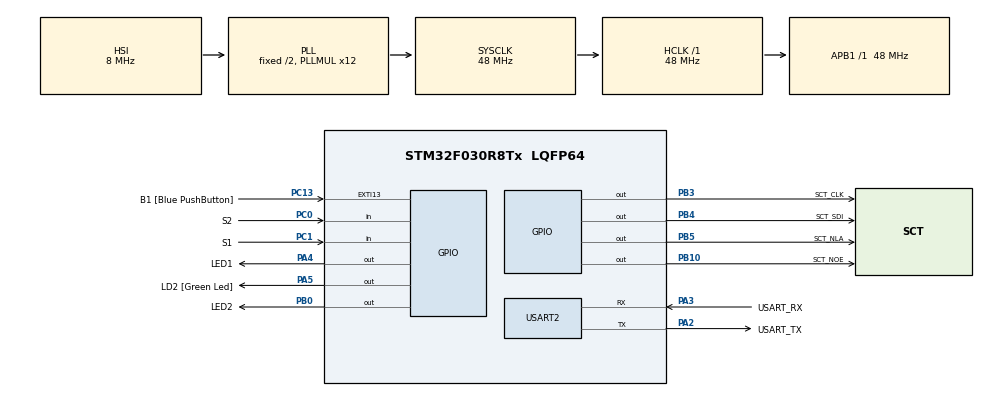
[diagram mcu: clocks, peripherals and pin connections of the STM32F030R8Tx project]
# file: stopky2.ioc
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Mcu.Family=STM32F0
Mcu.Name=STM32F030R8Tx
Mcu.Package=LQFP64
PA13.GPIO_Label=TMS
PA13.Mode=Serial_Wire
PA13.Signal=SYS_SWDIO
PA14.GPIO_Label=TCK
PA14.Mode=Serial_Wire
PA14.Signal=SYS_SWCLK
PA2.GPIO_Label=USART_TX
PA2.GPIO_Mode=GPIO_MODE_AF_PP
PA2.GPIO_PuPd=GPIO_NOPULL
PA2.GPIO_Speed=GPIO_SPEED_FREQ_LOW
PA2.Mode=Asynchronous
PA2.Signal=USART2_TX
PA3.GPIO_Label=USART_RX
PA3.GPIO_Mode=GPIO_MODE_AF_PP
PA3.GPIO_PuPd=GPIO_NOPULL
PA3.GPIO_Speed=GPIO_SPEED_FREQ_LOW
PA3.Mode=Asynchronous
PA3.Signal=USART2_RX
PA4.GPIO_Label=LED1
PA4.Signal=GPIO_Output
PA5.GPIO_Label=LD2 [Green Led]
PA5.GPIO_Mode=GPIO_MODE_OUTPUT_PP
PA5.GPIO_PuPd=GPIO_NOPULL
PA5.GPIO_Speed=GPIO_SPEED_FREQ_LOW
PA5.Signal=GPIO_Output
PB0.GPIO_Label=LED2
PB0.Signal=GPIO_Output
PB10.GPIO_Label=SCT_NOE
PB10.Signal=GPIO_Output
PB3.GPIO_Label=SCT_CLK
PB3.Signal=GPIO_Output
PB4.GPIO_Label=SCT_SDI
PB4.Signal=GPIO_Output
PB5.GPIO_Label=SCT_NLA
PB5.Signal=GPIO_Output
PC0.GPIO_Label=S2
PC0.GPIO_PuPd=GPIO_PULLUP
PC0.Signal=GPIO_Input
PC1.GPIO_Label=S1
PC1.GPIO_PuPd=GPIO_PULLUP
PC1.Signal=GPIO_Input
PC13.GPIO_Label=B1 [Blue PushButton]
PC13.GPIO_ModeDefaultEXTI=GPIO_MODE_IT_FALLING
PC13.Signal=GPXTI13
PC14-OSC32_IN.Mode=LSE-External-Oscillator
PC14-OSC32_IN.Signal=RCC_OSC32_IN
PC15-OSC32_OUT.Mode=LSE-External-Oscillator
PC15-OSC32_OUT.Signal=RCC_OSC32_OUT
PF0-OSC_IN.Mode=HSE-External-Clock-Source
PF0-OSC_IN.Signal=RCC_OSC_IN
PF1-OSC_OUT.Signal=RCC_OSC_OUT
ProjectManager.HeapSize=0x200
ProjectManager.StackSize=0x400
ProjectManager.TargetToolchain=STM32CubeIDE
RCC.AHBFreq_Value=48000000
RCC.APB1Freq_Value=48000000
RCC.APB1TimFreq_Value=48000000
RCC.HCLKFreq_Value=48000000
RCC.PLLMUL=RCC_PLL_MUL12
RCC.SYSCLKFreq_VALUE=48000000
RCC.SYSCLKSource=RCC_SYSCLKSOURCE_PLLCLK
USART2.VirtualMode-Asynchronous=VM_ASYNC
board=NUCLEO-F030R8

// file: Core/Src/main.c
/* USER CODE BEGIN Header */
/**
  ******************************************************************************
  * @file           : main.c
  * @brief          : Main program body
  ******************************************************************************
  * @attention
  *
  * <h2><center>&copy; Copyright (c) 2022 STMicroelectronics.
  * All rights reserved.</center></h2>
  *
  * This software component is licensed by ST under BSD 3-Clause license,
  * the "License"; You may not use this file except in compliance with the
  * License. You may obtain a copy of the License at:
  *                        opensource.org/licenses/BSD-3-Clause
  *
  ******************************************************************************
  */
/* USER CODE END Header */
#include "main.h"

/* USER CODE BEGIN Includes */
#include "sct.h"

/* USER CODE END Includes */

/* USER CODE BEGIN PTD */

#define BUTTON_DEBOUNCE 300

/* USER CODE END PTD */

UART_HandleTypeDef huart2;

/* USER CODE BEGIN PV */

uint8_t Tlacitka(void)
{
static uint32_t debounce = 0;
static uint8_t btnout = 0;

// uint32_t now = HAL_GetTick() ;

// #define BUTTON_LONG 1000

	if (HAL_GetTick() > debounce + BUTTON_DEBOUNCE) {

			if (HAL_GPIO_ReadPin(S1_GPIO_Port, S1_Pin) == 0) {
				btnout |= 0x1;
			} else
				btnout &= ~0x1;

			if (HAL_GPIO_ReadPin(S2_GPIO_Port, S2_Pin) == 0) {
				btnout |= 0x2;
			} else
				btnout &= ~0x2;

		debounce = HAL_GetTick();
	}
return btnout;
}

void Led(uint16_t LedOut,uint16_t ON_OFF )
{
		if (LedOut == 1 && ON_OFF == 1) {
		HAL_GPIO_WritePin(LED1_GPIO_Port, LED1_Pin, GPIO_PIN_SET);
	} else if (LedOut == 1 && ON_OFF == 0)
		HAL_GPIO_WritePin(LED1_GPIO_Port, LED1_Pin, GPIO_PIN_RESET);

	if (LedOut == 2 && ON_OFF == 1) {
		HAL_GPIO_WritePin(LED2_GPIO_Port, LED2_Pin, GPIO_PIN_SET);
	} else if(LedOut == 2 && ON_OFF == 0)
		HAL_GPIO_WritePin(LED2_GPIO_Port, LED2_Pin, GPIO_PIN_RESET);

	LedOut = 0;
}

/* USER CODE END PV */

void SystemClock_Config(void);
static void MX_GPIO_Init(void);
static void MX_USART2_UART_Init(void);

int main(void)
{

  /* MCU Configuration--------------------------------------------------------*/

  /* Reset of all peripherals, Initializes the Flash interface and the Systick. */
  HAL_Init();

  /* Configure the system clock */
  SystemClock_Config();

  /* Initialize all configured peripherals */
  MX_GPIO_Init();
  MX_USART2_UART_Init();
  /* USER CODE BEGIN 2 */

 uint32_t tim = HAL_GetTick();
 uint16_t tms = 0;
 uint32_t stisk1 = 0;
 uint32_t debounce = 0;
 uint32_t mezicas = 0;

  /* USER CODE END 2 */

  /* Infinite loop */
  /* USER CODE BEGIN WHILE */
  while (1)
  {
		if (HAL_GetTick() > debounce + BUTTON_DEBOUNCE) {
			if (Tlacitka() == 0x2 && stisk1 == 0) {
				stisk1 = 0;
			}
			if (Tlacitka() == 0x2 && stisk1 == 0) {
				stisk1 = 1;
			} else if (Tlacitka() == 0x2 && stisk1 == 1) {
				stisk1 = 2;
			} else if (Tlacitka() == 0x2 && stisk1 == 2) {
				stisk1 = 3;
			} else if (Tlacitka() == 0x2 && stisk1 == 3) {
				stisk1 = 0;
			}
			debounce = HAL_GetTick();
		}

		if (stisk1 == 1) {
			if (HAL_GetTick() > tim) {
				tms++;
				sct_value(tms, stisk1);
				tim += 100;
			}
		} else if (stisk1 == 2) {
			if (HAL_GetTick() > tim) {
				mezicas = tms;
				sct_value(tms, stisk1);
				tim = HAL_GetTick() + 100;
			}
		} else if (stisk1 == 3) {
			if (HAL_GetTick() > tim) {
				tms = 0;
				sct_value(tms, stisk1);
			}
		}

		if(Tlacitka() == 0x1)
		{
			sct_value(mezicas,stisk1 );
		}

    /* USER CODE END WHILE */

  }
}

void SystemClock_Config(void)
{
  RCC_OscInitTypeDef RCC_OscInitStruct = {0};
  RCC_ClkInitTypeDef RCC_ClkInitStruct = {0};

  /** Initializes the RCC Oscillators according to the specified parameters
  * in the RCC_OscInitTypeDef structure.
  */
  RCC_OscInitStruct.OscillatorType = RCC_OSCILLATORTYPE_HSI;
  RCC_OscInitStruct.HSIState = RCC_HSI_ON;
  RCC_OscInitStruct.HSICalibrationValue = RCC_HSICALIBRATION_DEFAULT;
  RCC_OscInitStruct.PLL.PLLState = RCC_PLL_ON;
  RCC_OscInitStruct.PLL.PLLSource = RCC_PLLSOURCE_HSI;
  RCC_OscInitStruct.PLL.PLLMUL = RCC_PLL_MUL12;
  RCC_OscInitStruct.PLL.PREDIV = RCC_PREDIV_DIV1;
  if (HAL_RCC_OscConfig(&RCC_OscInitStruct) != HAL_OK)
  {
    Error_Handler();
  }
  /** Initializes the CPU, AHB and APB buses clocks
  */
  RCC_ClkInitStruct.ClockType = RCC_CLOCKTYPE_HCLK|RCC_CLOCKTYPE_SYSCLK
                              |RCC_CLOCKTYPE_PCLK1;
  RCC_ClkInitStruct.SYSCLKSource = RCC_SYSCLKSOURCE_PLLCLK;
  RCC_ClkInitStruct.AHBCLKDivider = RCC_SYSCLK_DIV1;
  RCC_ClkInitStruct.APB1CLKDivider = RCC_HCLK_DIV1;

  if (HAL_RCC_ClockConfig(&RCC_ClkInitStruct, FLASH_LATENCY_1) != HAL_OK)
  {
    Error_Handler();
  }
}

static void MX_USART2_UART_Init(void)
{

  huart2.Instance = USART2;
  huart2.Init.BaudRate = 38400;
  huart2.Init.WordLength = UART_WORDLENGTH_8B;
  huart2.Init.StopBits = UART_STOPBITS_1;
  huart2.Init.Parity = UART_PARITY_NONE;
  huart2.Init.Mode = UART_MODE_TX_RX;
  huart2.Init.HwFlowCtl = UART_HWCONTROL_NONE;
  huart2.Init.OverSampling = UART_OVERSAMPLING_16;
  huart2.Init.OneBitSampling = UART_ONE_BIT_SAMPLE_DISABLE;
  huart2.AdvancedInit.AdvFeatureInit = UART_ADVFEATURE_NO_INIT;
  if (HAL_UART_Init(&huart2) != HAL_OK)
  {
    Error_Handler();
  }

}

static void MX_GPIO_Init(void)
{
  GPIO_InitTypeDef GPIO_InitStruct = {0};

  /* GPIO Ports Clock Enable */
  __HAL_RCC_GPIOC_CLK_ENABLE();
  __HAL_RCC_GPIOF_CLK_ENABLE();
  __HAL_RCC_GPIOA_CLK_ENABLE();
  __HAL_RCC_GPIOB_CLK_ENABLE();

  /*Configure GPIO pin Output Level */
  HAL_GPIO_WritePin(GPIOA, LED1_Pin|LD2_Pin, GPIO_PIN_RESET);

  /*Configure GPIO pin Output Level */
  HAL_GPIO_WritePin(GPIOB, LED2_Pin|SCT_NOE_Pin|SCT_CLK_Pin|SCT_SDI_Pin
                          |SCT_NLA_Pin, GPIO_PIN_RESET);

  /*Configure GPIO pin : B1_Pin */
  GPIO_InitStruct.Pin = B1_Pin;
  GPIO_InitStruct.Mode = GPIO_MODE_IT_FALLING;
  GPIO_InitStruct.Pull = GPIO_NOPULL;
  HAL_GPIO_Init(B1_GPIO_Port, &GPIO_InitStruct);

  /*Configure GPIO pins : S2_Pin S1_Pin */
  GPIO_InitStruct.Pin = S2_Pin|S1_Pin;
  GPIO_InitStruct.Mode = GPIO_MODE_INPUT;
  GPIO_InitStruct.Pull = GPIO_PULLUP;
  HAL_GPIO_Init(GPIOC, &GPIO_InitStruct);

  /*Configure GPIO pins : LED1_Pin LD2_Pin */
  GPIO_InitStruct.Pin = LED1_Pin|LD2_Pin;
  GPIO_InitStruct.Mode = GPIO_MODE_OUTPUT_PP;
  GPIO_InitStruct.Pull = GPIO_NOPULL;
  GPIO_InitStruct.Speed = GPIO_SPEED_FREQ_LOW;
  HAL_GPIO_Init(GPIOA, &GPIO_InitStruct);

  /*Configure GPIO pins : LED2_Pin SCT_NOE_Pin SCT_CLK_Pin SCT_SDI_Pin
                           SCT_NLA_Pin */
  GPIO_InitStruct.Pin = LED2_Pin|SCT_NOE_Pin|SCT_CLK_Pin|SCT_SDI_Pin
                          |SCT_NLA_Pin;
  GPIO_InitStruct.Mode = GPIO_MODE_OUTPUT_PP;
  GPIO_InitStruct.Pull = GPIO_NOPULL;
  GPIO_InitStruct.Speed = GPIO_SPEED_FREQ_LOW;
  HAL_GPIO_Init(GPIOB, &GPIO_InitStruct);

}

void Error_Handler(void)
{
  __disable_irq();
  while (1)
  {
  }
}

/************************ (C) COPYRIGHT STMicroelectronics *****END OF FILE****/
